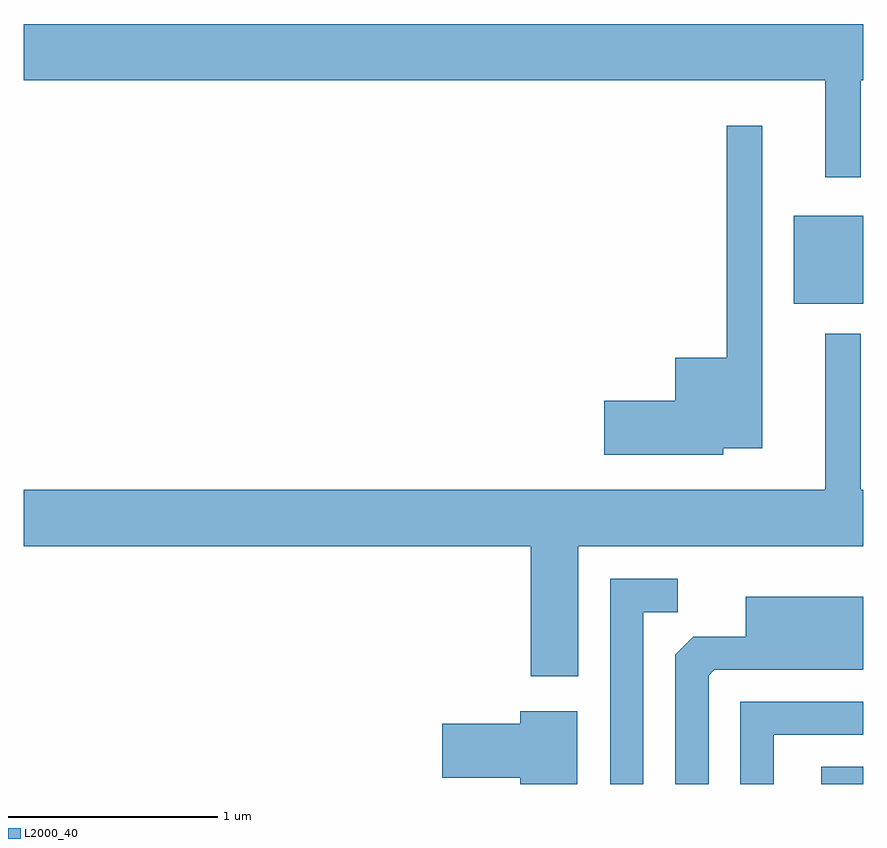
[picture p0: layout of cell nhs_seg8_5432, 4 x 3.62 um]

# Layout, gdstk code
import gdstk
lib = gdstk.Library(unit=1e-6, precision=1e-09)
def R(c, l, rs):  # rectangles x0, y0, x1, y1
    for r in rs: c.add(gdstk.rectangle(r[:2], r[2:], *l))
def P(c, l, *ps):  # polygons
    for p in ps: c.add(gdstk.Polygon(p, *l))
L2000_40 = (2000, 40)

nhs_seg8_5432 = lib.new_cell('nhs_seg8_5432')
R(nhs_seg8_5432, L2000_40, [(351.411,1886.342,351.611,1886.424), (351.281,1888.631,351.611,1889.049)])
P(nhs_seg8_5432, L2000_40, [(351.599,1889.696),(351.611,1889.696),(351.611,1889.964),(347.611,1889.964),(347.611,1889.696),(351.431,1889.696),(351.431,1889.233),(351.599,1889.233)],
  [(350.944,1887.941),(351.129,1887.941),(351.129,1889.478),(350.961,1889.478),(350.961,1888.374),(350.716,1888.374),(350.716,1888.169),(350.376,1888.169),(350.376,1887.911),(350.944,1887.911)],
  [(350.254,1887.476),(351.611,1887.476),(351.611,1887.744),(351.599,1887.744),(351.599,1888.488),(351.431,1888.488),(351.431,1887.744),(347.611,1887.744),(347.611,1887.476),(350.026,1887.476),(350.026,1886.856),(350.254,1886.856)],
  [(350.564,1887.161),(350.728,1887.161),(350.728,1887.319),(350.406,1887.319),(350.406,1886.342),(350.564,1886.342)],
  [(350.874,1886.859),(350.902,1886.886),(351.611,1886.886),(351.611,1887.234),(351.051,1887.234),(351.051,1887.044),(350.802,1887.044),(350.716,1886.959),(350.716,1886.342),(350.874,1886.342)],
  [(351.184,1886.576),(351.611,1886.576),(351.611,1886.734),(351.026,1886.734),(351.026,1886.342),(351.184,1886.342)],
  [(350.249,1886.689),(349.976,1886.689),(349.976,1886.629),(349.606,1886.629),(349.606,1886.371),(349.976,1886.371),(349.976,1886.342),(350.249,1886.342)])

lib.write_gds('nhs_seg8_5432.gds')
